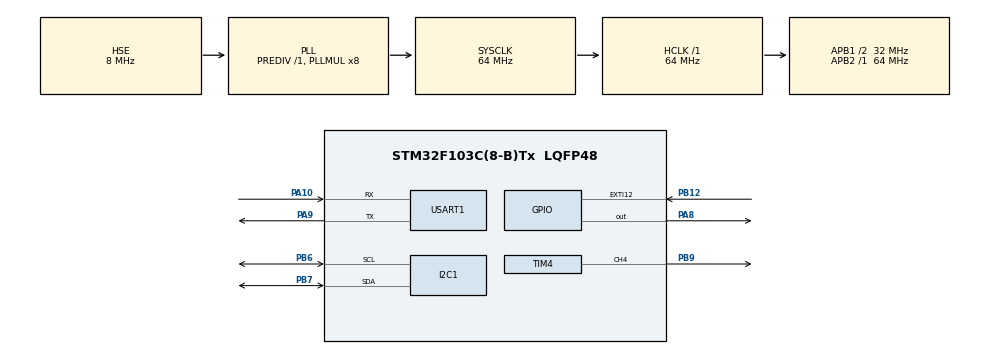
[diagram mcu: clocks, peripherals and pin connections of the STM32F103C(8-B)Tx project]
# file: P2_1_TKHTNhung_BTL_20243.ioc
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FREERTOS.BinarySemaphores01=Sem1_CMD,Dynamic,NULL,Depleted;Sem2_UART,Dynamic,NULL,Available
FREERTOS.Tasks01=Task1_MPU9250,24,256,S_Task1_MPU9250,Default,NULL,Dynamic,NULL,NULL;Task2_HCSR04,8,128,S_Task2_HCSR04,Default,NULL,Dynamic,NULL,NULL;Task3_UARTCMD,40,128,S_Task3_UARTCMD,Default,NULL,Dynamic,NULL,NULL
FREERTOS.configUSE_NEWLIB_REENTRANT=1
Mcu.Family=STM32F1
Mcu.Name=STM32F103C(8-B)Tx
Mcu.Package=LQFP48
NVIC.EXTI15_10_IRQn=true\:5\:0\:false\:false\:true\:true\:true\:true\:true
NVIC.PriorityGroup=NVIC_PRIORITYGROUP_4
NVIC.TIM1_UP_IRQn=true\:5\:0\:false\:false\:true\:true\:true\:true\:true
NVIC.TIM2_IRQn=true\:15\:0\:false\:false\:true\:false\:false\:true\:true
NVIC.TimeBase=TIM2_IRQn
NVIC.TimeBaseIP=TIM2
NVIC.USART1_IRQn=true\:6\:0\:true\:false\:true\:true\:true\:true\:true
PA10.Mode=Asynchronous
PA10.Signal=USART1_RX
PA13.Mode=Serial_Wire
PA13.Signal=SYS_JTMS-SWDIO
PA14.Mode=Serial_Wire
PA14.Signal=SYS_JTCK-SWCLK
PA8.Signal=GPIO_Output
PA9.Mode=Asynchronous
PA9.Signal=USART1_TX
PB12.GPIO_ModeDefaultEXTI=GPIO_MODE_IT_RISING_FALLING
PB12.GPIO_PuPd=GPIO_PULLUP
PB12.Signal=GPXTI12
PB6.Mode=I2C
PB6.Signal=I2C1_SCL
PB7.Mode=I2C
PB7.Signal=I2C1_SDA
PB9.Signal=S_TIM4_CH4
PD0-OSC_IN.Mode=HSE-External-Oscillator
PD0-OSC_IN.Signal=RCC_OSC_IN
PD1-OSC_OUT.Mode=HSE-External-Oscillator
PD1-OSC_OUT.Signal=RCC_OSC_OUT
ProjectManager.HeapSize=0x200
ProjectManager.StackSize=0x400
ProjectManager.TargetToolchain=STM32CubeIDE
RCC.AHBFreq_Value=64000000
RCC.APB1CLKDivider=RCC_HCLK_DIV2
RCC.APB1Freq_Value=32000000
RCC.APB1TimFreq_Value=64000000
RCC.APB2Freq_Value=64000000
RCC.APB2TimFreq_Value=64000000
RCC.HCLKFreq_Value=64000000
RCC.PLLMUL=RCC_PLL_MUL8
RCC.PLLSourceVirtual=RCC_PLLSOURCE_HSE
RCC.SYSCLKFreq_VALUE=64000000
RCC.SYSCLKSource=RCC_SYSCLKSOURCE_PLLCLK
RCC.USBFreq_Value=64000000
SH.S_TIM4_CH4.0=TIM4_CH4,PWM Generation4 CH4
TIM1.Prescaler=63
TIM4.Channel-PWM\ Generation4\ CH4=TIM_CHANNEL_4
TIM4.Period=19999
TIM4.Prescaler=63
USART1.VirtualMode=VM_ASYNC
VP_FREERTOS_VS_CMSIS_V2.Mode=CMSIS_V2
VP_SYS_VS_tim2.Mode=TIM2
VP_TIM1_VS_ClockSourceINT.Mode=Internal
VP_TIM4_VS_ClockSourceINT.Mode=Internal
board=custom

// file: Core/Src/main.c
/* USER CODE BEGIN Header */
/**
  ******************************************************************************
  * @file           : main.c
  * @brief          : Main program body
  ******************************************************************************
  * @attention
  *
  * Copyright (c) 2025 STMicroelectronics.
  * All rights reserved.
  *
  * This software is licensed under terms that can be found in the LICENSE file
  * in the root directory of this software component.
  * If no LICENSE file comes with this software, it is provided AS-IS.
  *
  ******************************************************************************
  */
/* USER CODE END Header */
#include "main.h"
#include "cmsis_os.h"

/* USER CODE BEGIN Includes */
#include "stdio.h"
#include "stdint.h"
#include "string.h"
#include "HCSR04.h"
#include "Servo.h"
#include "MPU9250.h"
#include <stdlib.h>
#include <ctype.h>
#include "stdbool.h"
/* USER CODE END Includes */

I2C_HandleTypeDef hi2c1;

TIM_HandleTypeDef htim1;
TIM_HandleTypeDef htim4;

UART_HandleTypeDef huart1;

/* Definitions for Task1_MPU9250 */
osThreadId_t Task1_MPU9250Handle;
const osThreadAttr_t Task1_MPU9250_attributes = {
  .name = "Task1_MPU9250",
  .stack_size = 256 * 4,
  .priority = (osPriority_t) osPriorityNormal,
};
/* Definitions for Task2_HCSR04 */
osThreadId_t Task2_HCSR04Handle;
const osThreadAttr_t Task2_HCSR04_attributes = {
  .name = "Task2_HCSR04",
  .stack_size = 128 * 4,
  .priority = (osPriority_t) osPriorityLow,
};
/* Definitions for Task3_UARTCMD */
osThreadId_t Task3_UARTCMDHandle;
const osThreadAttr_t Task3_UARTCMD_attributes = {
  .name = "Task3_UARTCMD",
  .stack_size = 128 * 4,
  .priority = (osPriority_t) osPriorityHigh,
};
/* Definitions for Sem1_CMD */
osSemaphoreId_t Sem1_CMDHandle;
const osSemaphoreAttr_t Sem1_CMD_attributes = {
  .name = "Sem1_CMD"
};
/* Definitions for Sem2_UART */
osSemaphoreId_t Sem2_UARTHandle;
const osSemaphoreAttr_t Sem2_UART_attributes = {
  .name = "Sem2_UART"
};

void SystemClock_Config(void);
static void MX_GPIO_Init(void);
static void MX_USART1_UART_Init(void);
static void MX_I2C1_Init(void);
static void MX_TIM1_Init(void);
static void MX_TIM4_Init(void);
void S_Task1_MPU9250(void *argument);
void S_Task2_HCSR04(void *argument);
void S_Task3_UARTCMD(void *argument);

/* USER CODE BEGIN 0 */
int _write(int fd, char * ptr, int len) {
  HAL_UART_Transmit( & huart1, (uint8_t * ) ptr, len, HAL_MAX_DELAY);
  return len;
}

uint8_t data_rx;
char uart_buff[100];
uint8_t uart_index = 0;
uint8_t uart_flag = 0;

void HAL_UART_RxCpltCallback(UART_HandleTypeDef *huart){

	if (data_rx == '\n'){
		uart_buff[uart_index] = '\0';
		uart_flag = 1;
	}else{
		uart_buff[uart_index++] = data_rx;
	}

	if (uart_flag == 1){
	  uart_flag = 0;
	  uart_index = 0;
	  osSemaphoreRelease(Sem1_CMDHandle);
	}
	HAL_UART_Receive_IT(&huart1, &data_rx, 1);
}
/* USER CODE END 0 */

int main(void)
{

  /* MCU Configuration--------------------------------------------------------*/

  /* Reset of all peripherals, Initializes the Flash interface and the Systick. */
  HAL_Init();

  /* Configure the system clock */
  SystemClock_Config();

  /* Initialize all configured peripherals */
  MX_GPIO_Init();
  MX_USART1_UART_Init();
  MX_I2C1_Init();
  MX_TIM1_Init();
  MX_TIM4_Init();
  /* USER CODE BEGIN 2 */
  HAL_UART_Receive_IT(&huart1, &data_rx, 1);
  HAL_TIM_PWM_Start(&htim4, TIM_CHANNEL_4);

  /* USER CODE END 2 */

  /* Init scheduler */
  osKernelInitialize();

  /* Create the semaphores(s) */
  /* creation of Sem1_CMD */
  Sem1_CMDHandle = osSemaphoreNew(1, 0, &Sem1_CMD_attributes);

  /* creation of Sem2_UART */
  Sem2_UARTHandle = osSemaphoreNew(1, 1, &Sem2_UART_attributes);

  /* Create the thread(s) */
  /* creation of Task1_MPU9250 */
  Task1_MPU9250Handle = osThreadNew(S_Task1_MPU9250, NULL, &Task1_MPU9250_attributes);

  /* creation of Task2_HCSR04 */
  Task2_HCSR04Handle = osThreadNew(S_Task2_HCSR04, NULL, &Task2_HCSR04_attributes);

  /* creation of Task3_UARTCMD */
  Task3_UARTCMDHandle = osThreadNew(S_Task3_UARTCMD, NULL, &Task3_UARTCMD_attributes);

  /* Start scheduler */
  osKernelStart();

  /* We should never get here as control is now taken by the scheduler */

  /* Infinite loop */
  while (1)
  {

  }
}

void SystemClock_Config(void)
{
  RCC_OscInitTypeDef RCC_OscInitStruct = {0};
  RCC_ClkInitTypeDef RCC_ClkInitStruct = {0};

  /** Initializes the RCC Oscillators according to the specified parameters
  * in the RCC_OscInitTypeDef structure.
  */
  RCC_OscInitStruct.OscillatorType = RCC_OSCILLATORTYPE_HSE;
  RCC_OscInitStruct.HSEState = RCC_HSE_ON;
  RCC_OscInitStruct.HSEPredivValue = RCC_HSE_PREDIV_DIV1;
  RCC_OscInitStruct.HSIState = RCC_HSI_ON;
  RCC_OscInitStruct.PLL.PLLState = RCC_PLL_ON;
  RCC_OscInitStruct.PLL.PLLSource = RCC_PLLSOURCE_HSE;
  RCC_OscInitStruct.PLL.PLLMUL = RCC_PLL_MUL8;
  if (HAL_RCC_OscConfig(&RCC_OscInitStruct) != HAL_OK)
  {
    Error_Handler();
  }

  /** Initializes the CPU, AHB and APB buses clocks
  */
  RCC_ClkInitStruct.ClockType = RCC_CLOCKTYPE_HCLK|RCC_CLOCKTYPE_SYSCLK
                              |RCC_CLOCKTYPE_PCLK1|RCC_CLOCKTYPE_PCLK2;
  RCC_ClkInitStruct.SYSCLKSource = RCC_SYSCLKSOURCE_PLLCLK;
  RCC_ClkInitStruct.AHBCLKDivider = RCC_SYSCLK_DIV1;
  RCC_ClkInitStruct.APB1CLKDivider = RCC_HCLK_DIV2;
  RCC_ClkInitStruct.APB2CLKDivider = RCC_HCLK_DIV1;

  if (HAL_RCC_ClockConfig(&RCC_ClkInitStruct, FLASH_LATENCY_2) != HAL_OK)
  {
    Error_Handler();
  }
}

static void MX_I2C1_Init(void)
{

  hi2c1.Instance = I2C1;
  hi2c1.Init.ClockSpeed = 100000;
  hi2c1.Init.DutyCycle = I2C_DUTYCYCLE_2;
  hi2c1.Init.OwnAddress1 = 0;
  hi2c1.Init.AddressingMode = I2C_ADDRESSINGMODE_7BIT;
  hi2c1.Init.DualAddressMode = I2C_DUALADDRESS_DISABLE;
  hi2c1.Init.OwnAddress2 = 0;
  hi2c1.Init.GeneralCallMode = I2C_GENERALCALL_DISABLE;
  hi2c1.Init.NoStretchMode = I2C_NOSTRETCH_DISABLE;
  if (HAL_I2C_Init(&hi2c1) != HAL_OK)
  {
    Error_Handler();
  }

}

static void MX_TIM1_Init(void)
{

  TIM_ClockConfigTypeDef sClockSourceConfig = {0};
  TIM_MasterConfigTypeDef sMasterConfig = {0};

  htim1.Instance = TIM1;
  htim1.Init.Prescaler = 63;
  htim1.Init.CounterMode = TIM_COUNTERMODE_UP;
  htim1.Init.Period = 65535;
  htim1.Init.ClockDivision = TIM_CLOCKDIVISION_DIV1;
  htim1.Init.RepetitionCounter = 0;
  htim1.Init.AutoReloadPreload = TIM_AUTORELOAD_PRELOAD_DISABLE;
  if (HAL_TIM_Base_Init(&htim1) != HAL_OK)
  {
    Error_Handler();
  }
  sClockSourceConfig.ClockSource = TIM_CLOCKSOURCE_INTERNAL;
  if (HAL_TIM_ConfigClockSource(&htim1, &sClockSourceConfig) != HAL_OK)
  {
    Error_Handler();
  }
  sMasterConfig.MasterOutputTrigger = TIM_TRGO_RESET;
  sMasterConfig.MasterSlaveMode = TIM_MASTERSLAVEMODE_DISABLE;
  if (HAL_TIMEx_MasterConfigSynchronization(&htim1, &sMasterConfig) != HAL_OK)
  {
    Error_Handler();
  }

}

static void MX_TIM4_Init(void)
{

  TIM_ClockConfigTypeDef sClockSourceConfig = {0};
  TIM_MasterConfigTypeDef sMasterConfig = {0};
  TIM_OC_InitTypeDef sConfigOC = {0};

  htim4.Instance = TIM4;
  htim4.Init.Prescaler = 63;
  htim4.Init.CounterMode = TIM_COUNTERMODE_UP;
  htim4.Init.Period = 19999;
  htim4.Init.ClockDivision = TIM_CLOCKDIVISION_DIV1;
  htim4.Init.AutoReloadPreload = TIM_AUTORELOAD_PRELOAD_DISABLE;
  if (HAL_TIM_Base_Init(&htim4) != HAL_OK)
  {
    Error_Handler();
  }
  sClockSourceConfig.ClockSource = TIM_CLOCKSOURCE_INTERNAL;
  if (HAL_TIM_ConfigClockSource(&htim4, &sClockSourceConfig) != HAL_OK)
  {
    Error_Handler();
  }
  if (HAL_TIM_PWM_Init(&htim4) != HAL_OK)
  {
    Error_Handler();
  }
  sMasterConfig.MasterOutputTrigger = TIM_TRGO_RESET;
  sMasterConfig.MasterSlaveMode = TIM_MASTERSLAVEMODE_DISABLE;
  if (HAL_TIMEx_MasterConfigSynchronization(&htim4, &sMasterConfig) != HAL_OK)
  {
    Error_Handler();
  }
  sConfigOC.OCMode = TIM_OCMODE_PWM1;
  sConfigOC.Pulse = 0;
  sConfigOC.OCPolarity = TIM_OCPOLARITY_HIGH;
  sConfigOC.OCFastMode = TIM_OCFAST_DISABLE;
  if (HAL_TIM_PWM_ConfigChannel(&htim4, &sConfigOC, TIM_CHANNEL_4) != HAL_OK)
  {
    Error_Handler();
  }
  HAL_TIM_MspPostInit(&htim4);

}

static void MX_USART1_UART_Init(void)
{

  huart1.Instance = USART1;
  huart1.Init.BaudRate = 115200;
  huart1.Init.WordLength = UART_WORDLENGTH_8B;
  huart1.Init.StopBits = UART_STOPBITS_1;
  huart1.Init.Parity = UART_PARITY_NONE;
  huart1.Init.Mode = UART_MODE_TX_RX;
  huart1.Init.HwFlowCtl = UART_HWCONTROL_NONE;
  huart1.Init.OverSampling = UART_OVERSAMPLING_16;
  if (HAL_UART_Init(&huart1) != HAL_OK)
  {
    Error_Handler();
  }

}

static void MX_GPIO_Init(void)
{
  GPIO_InitTypeDef GPIO_InitStruct = {0};

  /* GPIO Ports Clock Enable */
  __HAL_RCC_GPIOD_CLK_ENABLE();
  __HAL_RCC_GPIOB_CLK_ENABLE();
  __HAL_RCC_GPIOA_CLK_ENABLE();

  /*Configure GPIO pin Output Level */
  HAL_GPIO_WritePin(GPIOA, GPIO_PIN_8, GPIO_PIN_RESET);

  /*Configure GPIO pin : PB12 */
  GPIO_InitStruct.Pin = GPIO_PIN_12;
  GPIO_InitStruct.Mode = GPIO_MODE_IT_RISING_FALLING;
  GPIO_InitStruct.Pull = GPIO_PULLUP;
  HAL_GPIO_Init(GPIOB, &GPIO_InitStruct);

  /*Configure GPIO pin : PA8 */
  GPIO_InitStruct.Pin = GPIO_PIN_8;
  GPIO_InitStruct.Mode = GPIO_MODE_OUTPUT_PP;
  GPIO_InitStruct.Pull = GPIO_NOPULL;
  GPIO_InitStruct.Speed = GPIO_SPEED_FREQ_LOW;
  HAL_GPIO_Init(GPIOA, &GPIO_InitStruct);

  /* EXTI interrupt init*/
  HAL_NVIC_SetPriority(EXTI15_10_IRQn, 5, 0);
  HAL_NVIC_EnableIRQ(EXTI15_10_IRQn);

}

/* USER CODE BEGIN 4 */
uint32_t timeCycle1 = 1000;
uint32_t timeCycle2 = 1500;
/* USER CODE END 4 */

void S_Task1_MPU9250(void *argument)
{
  /* USER CODE BEGIN 5 */
	uint32_t next_wake_time = osKernelGetTickCount();
  /* Infinite loop */
  for(;;)
  {
	osSemaphoreAcquire(Sem2_UARTHandle, osWaitForever);

	printf("\nTask 1 in: %lu\n", HAL_GetTick());

	osSemaphoreRelease(Sem2_UARTHandle);

	MPU9250_Getdata();

	osSemaphoreAcquire(Sem2_UARTHandle, osWaitForever);

	printf("Data MPU: ax: %.2f  ay: %.2f  az: %.2f\n", ax, ay, az);
	printf("gx: %.2f  gy: %.2f  gz: %.2f\n", gx, gy, gz);

	osSemaphoreRelease(Sem2_UARTHandle);

	next_wake_time += timeCycle1;
	osDelayUntil(next_wake_time);
  }
  /* USER CODE END 5 */
}

void S_Task2_HCSR04(void *argument)
{
  /* USER CODE BEGIN S_Task2_HCSR04 */
	uint32_t next_wake_time = osKernelGetTickCount();
  /* Infinite loop */
  for(;;)
  {
	osSemaphoreAcquire(Sem2_UARTHandle, osWaitForever);

	printf("\nTask 2 in: %lu\n", HAL_GetTick());

	osSemaphoreRelease(Sem2_UARTHandle);

    HCSR04_Start();

	next_wake_time += timeCycle2;
	osDelayUntil(next_wake_time);
  }
  /* USER CODE END S_Task2_HCSR04 */
}

void S_Task3_UARTCMD(void *argument)
{
  /* USER CODE BEGIN S_Task3_UARTCMD */
    int servo_angle = 0;
  /* Infinite loop */
  for(;;)
  {
	  osSemaphoreAcquire(Sem1_CMDHandle, osWaitForever);

	  if (strncmp(uart_buff, ">Servo", 6) == 0) {
	         char *ptr = uart_buff + 6;
	         while (*ptr == ' ') ptr++;
	         servo_angle = atoi(ptr);
	         osSemaphoreAcquire(Sem2_UARTHandle, osWaitForever);
	         printf("Control Servo angel: %d\n", servo_angle);
	         osSemaphoreRelease(Sem2_UARTHandle);
	         Servo_Write(&htim4, TIM_CHANNEL_4, servo_angle);
	     } else if(strncmp(uart_buff, ">T1", 3) == 0){
	         char *ptr = uart_buff + 3;
	         while (*ptr == ' ') ptr++;
	         timeCycle1 = atoi(ptr);
	         osSemaphoreAcquire(Sem2_UARTHandle, osWaitForever);
	         printf("Change time cycle Task 1 to: %lu\n", timeCycle1);
	         osSemaphoreRelease(Sem2_UARTHandle);
	     }else if(strncmp(uart_buff, ">T2", 3) == 0){
	         char *ptr = uart_buff + 3;
	         while (*ptr == ' ') ptr++;
	         timeCycle2 = atoi(ptr);
	         osSemaphoreAcquire(Sem2_UARTHandle, osWaitForever);
	         printf("Change time cycle Task 2 to: %lu\n", timeCycle2);
	         osSemaphoreRelease(Sem2_UARTHandle);
	     }else {
	    	 osSemaphoreAcquire(Sem2_UARTHandle, osWaitForever);
	         printf("Wrong message!\n");
	         osSemaphoreRelease(Sem2_UARTHandle);
	     }

  }
  /* USER CODE END S_Task3_UARTCMD */
}

void HAL_TIM_PeriodElapsedCallback(TIM_HandleTypeDef *htim)
{
  if (htim->Instance == TIM2) {
    HAL_IncTick();
  }
}

void Error_Handler(void)
{
  __disable_irq();
  while (1)
  {
  }
}
